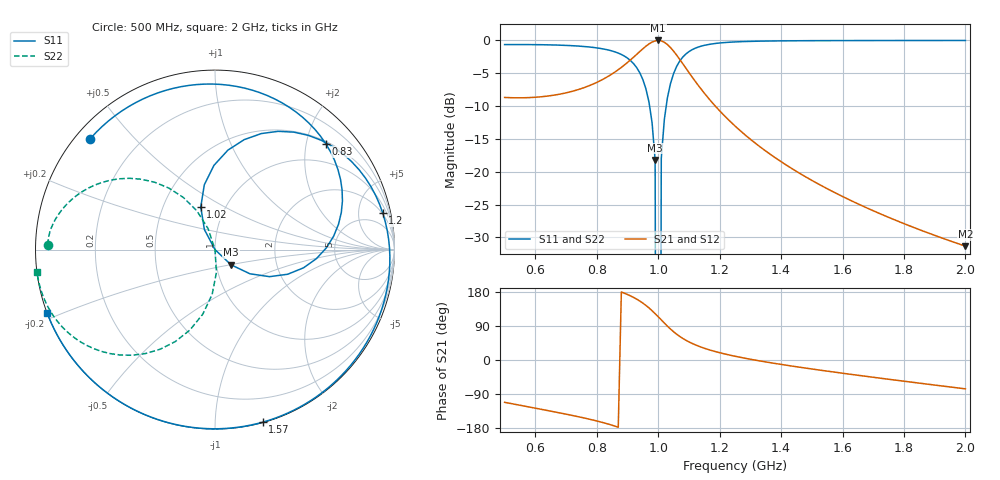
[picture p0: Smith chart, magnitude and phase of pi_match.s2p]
! https://github.com/szoftveres
# Hz S RI R 50
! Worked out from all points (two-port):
!   151 points, 500 MHz to 2 GHz, reference 50 ohm
!   highest |S21| = 0.00 dB at 1 GHz (marker M1); lowest = -31.3 dB at 2 GHz (marker M2)
!   |S21| within 3 dB of the highest: 908.8 MHz to 1.072 GHz (163 MHz wide, 16.5 % of centre)
!   lowest |S11| = -18.2 dB at 990 MHz (marker M3), VSWR 1.28, Z = 58.8 - j10.1 ohm
!   |S11| at or under -10 dB: 971.9 MHz to 1.026 GHz (54.23 MHz wide, 5.43 % of centre)
!   |S22| runs from - to 0.0 dB; largest |S21 - S12| = 0
!   S11 on the Smith chart (normalised r, x): 500 MHz: 0.04, +0.38; 830 MHz: 0.55, +2.39; 1.02 GHz: 0.77, +0.39; 1.2 GHz: 1.87, +8.96; 1.57 GHz: 0.00, -1.32; 2 GHz: 0.00, -0.18
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5e8  -0.6942 0.6187  -0.1359 -0.3418  -0.1359 -0.3418  -0.9295 0.0267
6.3e8  -0.1894 0.9077  -0.2496 -0.2792  -0.2496 -0.2792  -0.9231 0.0869
7.5e8  0.3329 0.8392  -0.3774 -0.2059  -0.3774 -0.2059  -0.8859 0.1743
8.3e8  0.6176 0.5894  -0.5081 -0.1144  -0.5081 -0.1144  -0.8106 0.2677
9e8  0.7038 0.207  -0.6743 0.0842  -0.6743 0.0842  -0.6313 0.3737
9.5e8  0.4932 -0.1014  -0.749 0.4306  -0.749 0.4306  -0.3359 0.3752
9.7e8  0.3036 -0.1508  -0.6925 0.6369  -0.6925 0.6369  -0.1756 0.29
9.9e8  0.089 -0.0845  -0.5311 0.8383  -0.5311 0.8383  -0.0384 0.1166
1e9  0 -0  -0.4095 0.9123  -0.4095 0.9123  -0 0
1.01e9  -0.0591 0.1117  -0.2699 0.9546  -0.2699 0.9546  0.00817 -0.126
1.02e9  -0.0794 0.2372  -0.1254 0.9601  -0.1254 0.9601  -0.0158 -0.2496
1.04e9  -0.00589 0.4693  0.1275 0.8738  0.1275 0.8738  -0.1397 -0.4481
1.08e9  0.3518 0.659  0.3627 0.5572  0.3627 0.5572  -0.4602 -0.5884
1.14e9  0.7607 0.4907  0.3527 0.2369  0.3527 0.2369  -0.7421 -0.5184
1.2e9  0.9351 0.2024  0.2748 0.0959  0.2748 0.0959  -0.858 -0.4232
1.25e9  0.9742 -0.0346  0.2197 0.0384  0.2197 0.0384  -0.9047 -0.363
1.36e9  0.865 -0.4823  0.1374 -0.0155  0.1374 -0.0155  -0.9509 -0.2768
1.5e9  0.4999 -0.8618  0.0787 -0.0345  0.0787 -0.0345  -0.9728 -0.2151
1.57e9  0.2668 -0.9612  0.0598 -0.0368  0.0598 -0.0368  -0.9784 -0.1945
1.75e9  -0.3544 -0.934  0.0283 -0.0348  0.0283 -0.0348  -0.9865 -0.1574
1.88e9  -0.7222 -0.6908  0.0149 -0.0306  0.0149 -0.0306  -0.9897 -0.1392
2e9  -0.9361 -0.3506  0.0065 -0.0263  0.0065 -0.0263  -0.9916 -0.1262
